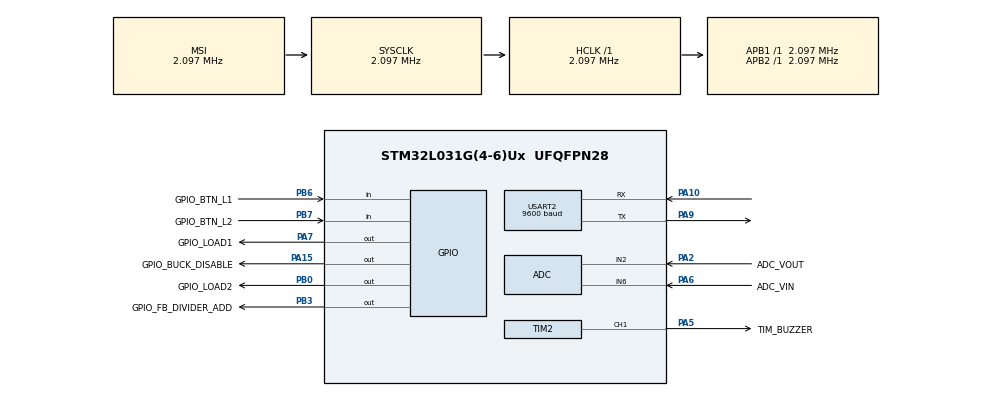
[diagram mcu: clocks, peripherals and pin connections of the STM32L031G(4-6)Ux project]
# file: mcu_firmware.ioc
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ADC.ClockPrescaler=ADC_CLOCK_ASYNC_DIV16
ADC.ContinuousConvMode=ENABLE
ADC.DMAContinuousRequests=ENABLE
ADC.DiscontinuousConvMode=DISABLE
ADC.EOCSelection=ADC_EOC_SINGLE_CONV
ADC.Overrun=ADC_OVR_DATA_PRESERVED
ADC.OversamplingMode=ENABLE
ADC.Ratio=ADC_OVERSAMPLING_RATIO_16
ADC.RightBitShift=ADC_RIGHTBITSHIFT_4
ADC.SamplingTime=ADC_SAMPLETIME_160CYCLES_5
Dma.ADC.0.Direction=DMA_PERIPH_TO_MEMORY
Dma.ADC.0.Instance=DMA1_Channel1
Dma.ADC.0.MemDataAlignment=DMA_MDATAALIGN_WORD
Dma.ADC.0.MemInc=DMA_MINC_ENABLE
Dma.ADC.0.Mode=DMA_CIRCULAR
Dma.ADC.0.PeriphDataAlignment=DMA_PDATAALIGN_WORD
Dma.ADC.0.PeriphInc=DMA_PINC_DISABLE
Dma.ADC.0.Priority=DMA_PRIORITY_LOW
Dma.Request0=ADC
Mcu.Family=STM32L0
Mcu.Name=STM32L031G(4-6)Ux
Mcu.Package=UFQFPN28
NVIC.DMA1_Channel1_IRQn=true\:0\:0\:false\:false\:true\:false\:true\:true
PA10.Mode=Asynchronous
PA10.Signal=USART2_RX
PA13.Mode=Serial_Wire
PA13.Signal=SYS_SWDIO
PA14.Mode=Serial_Wire
PA14.Signal=SYS_SWCLK
PA15.GPIO_Label=GPIO_BUCK_DISABLE
PA15.Signal=GPIO_Output
PA2.GPIO_Label=ADC_VOUT
PA2.Mode=IN2
PA2.Signal=ADC_IN2
PA5.GPIO_Label=TIM_BUZZER
PA5.Signal=S_TIM2_CH1
PA6.GPIO_Label=ADC_VIN
PA6.Mode=IN6
PA6.Signal=ADC_IN6
PA7.GPIO_Label=GPIO_LOAD1
PA7.Signal=GPIO_Output
PA9.Mode=Asynchronous
PA9.Signal=USART2_TX
PB0.GPIO_Label=GPIO_LOAD2
PB0.Signal=GPIO_Output
PB3.GPIO_Label=GPIO_FB_DIVIDER_ADD
PB3.Signal=GPIO_Output
PB6.GPIO_Label=GPIO_BTN_L1
PB6.Signal=GPIO_Input
PB7.GPIO_Label=GPIO_BTN_L2
PB7.Signal=GPIO_Input
ProjectManager.HeapSize=0x200
ProjectManager.StackSize=0x400
ProjectManager.TargetToolchain=STM32CubeIDE
RCC.ADCFreq_Value=4000000
RCC.AHBFreq_Value=2097000
RCC.APB1Freq_Value=2097000
RCC.APB1TimFreq_Value=2097000
RCC.APB2Freq_Value=2097000
RCC.APB2TimFreq_Value=2097000
RCC.HCLKFreq_Value=2097000
RCC.HSE_VALUE=8000000
RCC.HSI16_VALUE=16000000
RCC.HSICalibrationValue=16
RCC.HSIRCDiv=4
RCC.HSI_VALUE=4000000
RCC.LSE_VALUE=32768
RCC.MSI_VALUE=2097000
RCC.SYSCLKFreq_VALUE=2097000
RCC.VCOOutputFreq_Value=12000000
SH.S_TIM2_CH1.0=TIM2_CH1,PWM Generation1 CH1
TIM2.Channel-PWM\ Generation1\ CH1=TIM_CHANNEL_1
USART2.BaudRate=9600
USART2.VirtualMode-Asynchronous=VM_ASYNC
VP_ADC_TempSens_Input.Mode=IN-TempSens
board=custom

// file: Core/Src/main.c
/* USER CODE BEGIN Header */
/**
  ******************************************************************************
  * @file           : main.c
  * @brief          : Main program body
  ******************************************************************************
  * @attention
  *
  * Copyright (c) 2025 STMicroelectronics.
  * All rights reserved.
  *
  * This software is licensed under terms that can be found in the LICENSE file
  * in the root directory of this software component.
  * If no LICENSE file comes with this software, it is provided AS-IS.
  *
  ******************************************************************************
  */
/* USER CODE END Header */
#include "main.h"

ADC_HandleTypeDef hadc;
DMA_HandleTypeDef hdma_adc;

TIM_HandleTypeDef htim2;

UART_HandleTypeDef huart2;

/* USER CODE BEGIN PV */
uint32_t adc_buffer[3]; //[0]: v_out / [1]: v_in / [2]: temp
float v_out = 0;
float v_in = 0;
float temp = 0;

#define VOUT_MAX 13
#define VIN_MAX 30
#define TEMP_MAX 70
#define STOP_AFTER_H 4 //stop after 4h

/* USER CODE END PV */

void SystemClock_Config(void);
static void MX_GPIO_Init(void);
static void MX_DMA_Init(void);
static void MX_ADC_Init(void);
static void MX_TIM2_Init(void);
static void MX_USART2_UART_Init(void);

/* USER CODE BEGIN 0 */
float get_v_out()
 {
	return (((float) (adc_buffer[0] - 28) / 4095.f) * 3.3f* (75.0f + 20.0f)) / 20.0f;
 }

 float get_v_in()
 {
	 return (((float) (adc_buffer[1] - 25) / 4095.f) * 3.3f* (75.0f + 8.25f)) / 8.25f;
 }

 float get_temperature()
 {

	           temp = (((0.67f - 3.3f) * 1000.0) /1.61f) + 130.0f;

	           return temp;
	//float v_temp_inside = 3.3f*(float)adc_buffer[2]/4095.f;
	//return (1.f/((1.f/298.15f) + (1.f/3435.f) * log((v_temp_inside)/(3.3f-v_temp_inside))))-273.15f;
 }

/* USER CODE END 0 */

int main(void) {

	/* MCU Configuration--------------------------------------------------------*/

	/* Reset of all peripherals, Initializes the Flash interface and the Systick. */
	HAL_Init();

	/* Configure the system clock */
	SystemClock_Config();

	/* Initialize all configured peripherals */
	MX_GPIO_Init();
	MX_DMA_Init();
	MX_ADC_Init();
	MX_TIM2_Init();
	MX_USART2_UART_Init();

	/* USER CODE BEGIN 2 */
	/*#define ADC_VOUT_Pin GPIO_PIN_2
	 #define ADC_VOUT_GPIO_Port GPIOA
	 #define TIM_BUZZER_Pin GPIO_PIN_5
	 #define TIM_BUZZER_GPIO_Port GPIOA
	 #define ADC_VIN_Pin GPIO_PIN_6
	 #define ADC_VIN_GPIO_Port GPIOA
	 #define GPIO_LOAD1_Pin GPIO_PIN_7
	 #define GPIO_LOAD1_GPIO_Port GPIOA
	 #define GPIO_LOAD2_Pin GPIO_PIN_0
	 #define GPIO_LOAD2_GPIO_Port GPIOB
	 #define GPIO_BUCK_DISABLE_Pin GPIO_PIN_15
	 #define GPIO_BUCK_DISABLE_GPIO_Port GPIOA
	 #define GPIO_FB_DIVIDER_ADD_Pin GPIO_PIN_3
	 #define GPIO_FB_DIVIDER_ADD_GPIO_Port GPIOB
	 #define GPIO_BTN_L1_Pin GPIO_PIN_6
	 #define GPIO_BTN_L1_GPIO_Port GPIOB
	 #define GPIO_BTN_L2_Pin GPIO_PIN_7
	 #define GPIO_BTN_L2_GPIO_Port GPIOB*/

	HAL_ADC_Start_DMA(&hadc, adc_buffer, 3);
	HAL_TIM_PWM_Start(&htim2, TIM_CHANNEL_1);

	uint32_t start_time = HAL_GetTick(); //time in ms since startup
	uint32_t last_load_check = HAL_GetTick(); //time in ms since startup

	/* USER CODE END 2 */

	/* Infinite loop */
	/* USER CODE BEGIN WHILE */
	while (1) {
		float v_out = get_v_out();

		//check output voltage
		if (v_out > VOUT_MAX) {
			//HAL_GPIO_WritePin(GPIO_LOAD1_GPIO_Port, GPIO_LOAD1_Pin, GPIO_PIN_RESET);
			HAL_GPIO_WritePin(GPIO_LOAD2_GPIO_Port, GPIO_LOAD2_Pin,GPIO_PIN_RESET);
			HAL_Delay(1000);
			continue;
		}

		//manage max time running
		if((start_time + 3600 * 1000 * STOP_AFTER_H) < HAL_GetTick())
		{
			//disable buck converter
			HAL_GPIO_WritePin(GPIO_BUCK_DISABLE_GPIO_Port, GPIO_BUCK_DISABLE_Pin,GPIO_PIN_SET);

			//disable mosfets
			HAL_GPIO_WritePin(GPIO_LOAD2_GPIO_Port, GPIO_LOAD2_Pin,GPIO_PIN_RESET);
			//HAL_GPIO_WritePin(GPIO_LOAD2_GPIO_Port, GPIO_LOAD2_Pin,GPIO_PIN_RESET);
			HAL_Delay(1000);
			continue;
		}

		//routine to check if load is attached when turned on
		if(HAL_GPIO_ReadPin(GPIO_BTN_L2_GPIO_Port,GPIO_BTN_L2_Pin) && (last_load_check + 1000 * 15) < HAL_GetTick())
		{

			HAL_GPIO_WritePin(GPIO_BUCK_DISABLE_GPIO_Port, GPIO_BUCK_DISABLE_Pin,GPIO_PIN_RESET);

			HAL_Delay(100);

			float v_in_buck_enabled = get_v_in();

			HAL_GPIO_WritePin(GPIO_BUCK_DISABLE_GPIO_Port, GPIO_BUCK_DISABLE_Pin,GPIO_PIN_SET);

			HAL_Delay(100);

			float v_in_buck_disabled = get_v_in();

			if(v_in_buck_enabled < v_in_buck_disabled - 0.1f)
			{
				HAL_GPIO_WritePin(GPIO_BUCK_DISABLE_GPIO_Port, GPIO_BUCK_DISABLE_Pin,GPIO_PIN_RESET);
			}
			else
			{
			//	TIM2->ARR = (1000000UL / 300) - 1; // Set The PWM Frequency
			//	TIM2->CCR1 = 200; // Set Duty Cycle 50%
			//	HAL_Delay(100); // Wait For The Tone Duration
			//	TIM2->CCR1 = 0; // Set Duty Cycle 50%
			}

			last_load_check = HAL_GetTick();
		}

		//manage input
		if (HAL_GPIO_ReadPin(GPIO_BTN_L2_GPIO_Port,GPIO_BTN_L2_Pin) && v_out <= VOUT_MAX)
			HAL_GPIO_WritePin(GPIO_LOAD2_GPIO_Port, GPIO_LOAD2_Pin,GPIO_PIN_SET);
		else
			HAL_GPIO_WritePin(GPIO_LOAD2_GPIO_Port, GPIO_LOAD2_Pin,GPIO_PIN_RESET);

		HAL_Delay(50);

		/* USER CODE END WHILE */

	}
}

void SystemClock_Config(void)
{
  RCC_OscInitTypeDef RCC_OscInitStruct = {0};
  RCC_ClkInitTypeDef RCC_ClkInitStruct = {0};
  RCC_PeriphCLKInitTypeDef PeriphClkInit = {0};

  /** Configure the main internal regulator output voltage
  */
  __HAL_PWR_VOLTAGESCALING_CONFIG(PWR_REGULATOR_VOLTAGE_SCALE1);

  /** Initializes the RCC Oscillators according to the specified parameters
  * in the RCC_OscInitTypeDef structure.
  */
  RCC_OscInitStruct.OscillatorType = RCC_OSCILLATORTYPE_HSI|RCC_OSCILLATORTYPE_MSI;
  RCC_OscInitStruct.HSIState = RCC_HSI_DIV4;
  RCC_OscInitStruct.HSICalibrationValue = RCC_HSICALIBRATION_DEFAULT;
  RCC_OscInitStruct.MSIState = RCC_MSI_ON;
  RCC_OscInitStruct.MSICalibrationValue = 0;
  RCC_OscInitStruct.MSIClockRange = RCC_MSIRANGE_5;
  RCC_OscInitStruct.PLL.PLLState = RCC_PLL_NONE;
  if (HAL_RCC_OscConfig(&RCC_OscInitStruct) != HAL_OK)
  {
    Error_Handler();
  }

  /** Initializes the CPU, AHB and APB buses clocks
  */
  RCC_ClkInitStruct.ClockType = RCC_CLOCKTYPE_HCLK|RCC_CLOCKTYPE_SYSCLK
                              |RCC_CLOCKTYPE_PCLK1|RCC_CLOCKTYPE_PCLK2;
  RCC_ClkInitStruct.SYSCLKSource = RCC_SYSCLKSOURCE_MSI;
  RCC_ClkInitStruct.AHBCLKDivider = RCC_SYSCLK_DIV1;
  RCC_ClkInitStruct.APB1CLKDivider = RCC_HCLK_DIV1;
  RCC_ClkInitStruct.APB2CLKDivider = RCC_HCLK_DIV1;

  if (HAL_RCC_ClockConfig(&RCC_ClkInitStruct, FLASH_LATENCY_0) != HAL_OK)
  {
    Error_Handler();
  }
  PeriphClkInit.PeriphClockSelection = RCC_PERIPHCLK_USART2;
  PeriphClkInit.Usart2ClockSelection = RCC_USART2CLKSOURCE_PCLK1;
  if (HAL_RCCEx_PeriphCLKConfig(&PeriphClkInit) != HAL_OK)
  {
    Error_Handler();
  }
}

static void MX_ADC_Init(void)
{

  ADC_ChannelConfTypeDef sConfig = {0};

  /** Configure the global features of the ADC (Clock, Resolution, Data Alignment and number of conversion)
  */
  hadc.Instance = ADC1;
  hadc.Init.OversamplingMode = ENABLE;
  hadc.Init.Oversample.Ratio = ADC_OVERSAMPLING_RATIO_32;
  hadc.Init.Oversample.RightBitShift = ADC_RIGHTBITSHIFT_5;
  hadc.Init.Oversample.TriggeredMode = ADC_TRIGGEREDMODE_SINGLE_TRIGGER;
  hadc.Init.ClockPrescaler = ADC_CLOCK_ASYNC_DIV16;
  hadc.Init.Resolution = ADC_RESOLUTION_12B;
  hadc.Init.SamplingTime = ADC_SAMPLETIME_79CYCLES_5;
  hadc.Init.ScanConvMode = ADC_SCAN_DIRECTION_FORWARD;
  hadc.Init.DataAlign = ADC_DATAALIGN_RIGHT;
  hadc.Init.ContinuousConvMode = ENABLE;
  hadc.Init.DiscontinuousConvMode = DISABLE;
  hadc.Init.ExternalTrigConvEdge = ADC_EXTERNALTRIGCONVEDGE_NONE;
  hadc.Init.ExternalTrigConv = ADC_SOFTWARE_START;
  hadc.Init.DMAContinuousRequests = ENABLE;
  hadc.Init.EOCSelection = ADC_EOC_SINGLE_CONV;
  hadc.Init.Overrun = ADC_OVR_DATA_PRESERVED;
  hadc.Init.LowPowerAutoWait = DISABLE;
  hadc.Init.LowPowerFrequencyMode = ENABLE;
  hadc.Init.LowPowerAutoPowerOff = DISABLE;
  if (HAL_ADC_Init(&hadc) != HAL_OK)
  {
    Error_Handler();
  }

  /** Configure for the selected ADC regular channel to be converted.
  */
  sConfig.Channel = ADC_CHANNEL_2;
  sConfig.Rank = ADC_RANK_CHANNEL_NUMBER;
  if (HAL_ADC_ConfigChannel(&hadc, &sConfig) != HAL_OK)
  {
    Error_Handler();
  }

  /** Configure for the selected ADC regular channel to be converted.
  */
  sConfig.Channel = ADC_CHANNEL_6;
  if (HAL_ADC_ConfigChannel(&hadc, &sConfig) != HAL_OK)
  {
    Error_Handler();
  }

  /** Configure for the selected ADC regular channel to be converted.
  */
  sConfig.Channel = ADC_CHANNEL_TEMPSENSOR;
  if (HAL_ADC_ConfigChannel(&hadc, &sConfig) != HAL_OK)
  {
    Error_Handler();
  }

}

static void MX_TIM2_Init(void)
{

  TIM_MasterConfigTypeDef sMasterConfig = {0};
  TIM_OC_InitTypeDef sConfigOC = {0};

  htim2.Instance = TIM2;
  htim2.Init.Prescaler = 0;
  htim2.Init.CounterMode = TIM_COUNTERMODE_UP;
  htim2.Init.Period = 65535;
  htim2.Init.ClockDivision = TIM_CLOCKDIVISION_DIV1;
  htim2.Init.AutoReloadPreload = TIM_AUTORELOAD_PRELOAD_DISABLE;
  if (HAL_TIM_PWM_Init(&htim2) != HAL_OK)
  {
    Error_Handler();
  }
  sMasterConfig.MasterOutputTrigger = TIM_TRGO_RESET;
  sMasterConfig.MasterSlaveMode = TIM_MASTERSLAVEMODE_DISABLE;
  if (HAL_TIMEx_MasterConfigSynchronization(&htim2, &sMasterConfig) != HAL_OK)
  {
    Error_Handler();
  }
  sConfigOC.OCMode = TIM_OCMODE_PWM1;
  sConfigOC.Pulse = 0;
  sConfigOC.OCPolarity = TIM_OCPOLARITY_HIGH;
  sConfigOC.OCFastMode = TIM_OCFAST_DISABLE;
  if (HAL_TIM_PWM_ConfigChannel(&htim2, &sConfigOC, TIM_CHANNEL_1) != HAL_OK)
  {
    Error_Handler();
  }
  HAL_TIM_MspPostInit(&htim2);

}

static void MX_USART2_UART_Init(void)
{

  huart2.Instance = USART2;
  huart2.Init.BaudRate = 9600;
  huart2.Init.WordLength = UART_WORDLENGTH_8B;
  huart2.Init.StopBits = UART_STOPBITS_1;
  huart2.Init.Parity = UART_PARITY_NONE;
  huart2.Init.Mode = UART_MODE_TX_RX;
  huart2.Init.HwFlowCtl = UART_HWCONTROL_NONE;
  huart2.Init.OverSampling = UART_OVERSAMPLING_16;
  huart2.Init.OneBitSampling = UART_ONE_BIT_SAMPLE_DISABLE;
  huart2.AdvancedInit.AdvFeatureInit = UART_ADVFEATURE_NO_INIT;
  if (HAL_UART_Init(&huart2) != HAL_OK)
  {
    Error_Handler();
  }

}

static void MX_DMA_Init(void)
{

  /* DMA controller clock enable */
  __HAL_RCC_DMA1_CLK_ENABLE();

  /* DMA interrupt init */
  /* DMA1_Channel1_IRQn interrupt configuration */
  HAL_NVIC_SetPriority(DMA1_Channel1_IRQn, 0, 0);
  HAL_NVIC_EnableIRQ(DMA1_Channel1_IRQn);

}

static void MX_GPIO_Init(void)
{
  GPIO_InitTypeDef GPIO_InitStruct = {0};

  /* GPIO Ports Clock Enable */
  __HAL_RCC_GPIOA_CLK_ENABLE();
  __HAL_RCC_GPIOB_CLK_ENABLE();

  /*Configure GPIO pin Output Level */
  HAL_GPIO_WritePin(GPIOA, GPIO_LOAD1_Pin|GPIO_BUCK_DISABLE_Pin, GPIO_PIN_RESET);

  /*Configure GPIO pin Output Level */
  HAL_GPIO_WritePin(GPIOB, GPIO_LOAD2_Pin|GPIO_FB_DIVIDER_ADD_Pin, GPIO_PIN_RESET);

  /*Configure GPIO pins : GPIO_LOAD1_Pin GPIO_BUCK_DISABLE_Pin */
  GPIO_InitStruct.Pin = GPIO_LOAD1_Pin|GPIO_BUCK_DISABLE_Pin;
  GPIO_InitStruct.Mode = GPIO_MODE_OUTPUT_PP;
  GPIO_InitStruct.Pull = GPIO_NOPULL;
  GPIO_InitStruct.Speed = GPIO_SPEED_FREQ_LOW;
  HAL_GPIO_Init(GPIOA, &GPIO_InitStruct);

  /*Configure GPIO pins : GPIO_LOAD2_Pin GPIO_FB_DIVIDER_ADD_Pin */
  GPIO_InitStruct.Pin = GPIO_LOAD2_Pin|GPIO_FB_DIVIDER_ADD_Pin;
  GPIO_InitStruct.Mode = GPIO_MODE_OUTPUT_PP;
  GPIO_InitStruct.Pull = GPIO_NOPULL;
  GPIO_InitStruct.Speed = GPIO_SPEED_FREQ_LOW;
  HAL_GPIO_Init(GPIOB, &GPIO_InitStruct);

  /*Configure GPIO pins : GPIO_BTN_L1_Pin GPIO_BTN_L2_Pin */
  GPIO_InitStruct.Pin = GPIO_BTN_L1_Pin|GPIO_BTN_L2_Pin;
  GPIO_InitStruct.Mode = GPIO_MODE_INPUT;
  GPIO_InitStruct.Pull = GPIO_NOPULL;
  HAL_GPIO_Init(GPIOB, &GPIO_InitStruct);

}

void Error_Handler(void)
{
  __disable_irq();
  while (1)
  {
  }
}
